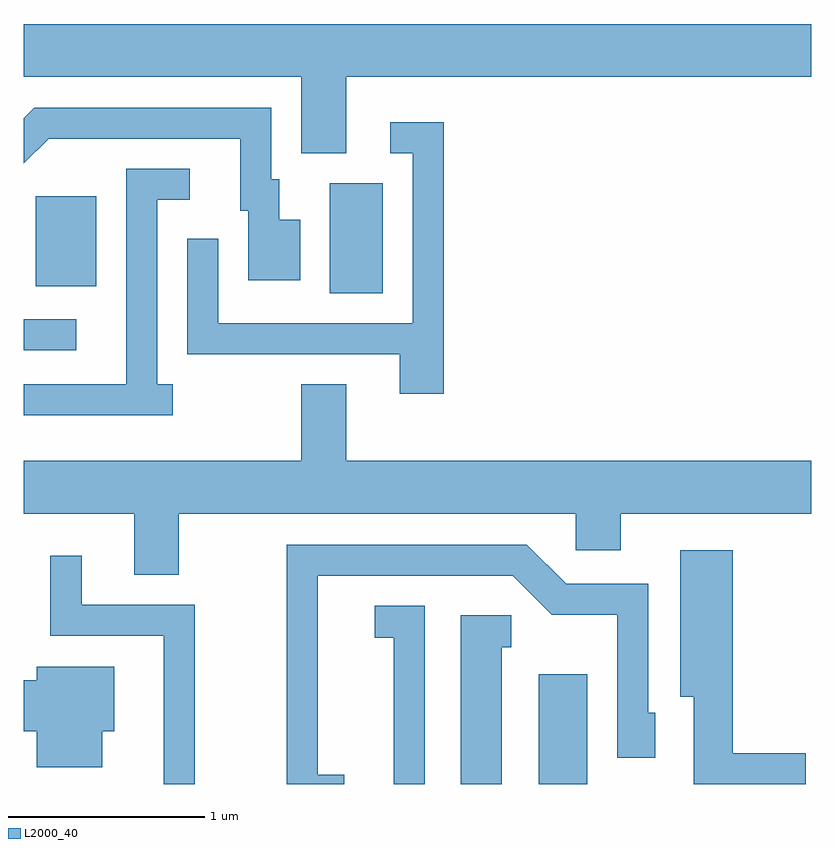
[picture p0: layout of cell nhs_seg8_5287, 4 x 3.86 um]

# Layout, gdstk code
import gdstk
lib = gdstk.Library(unit=1e-6, precision=1e-09)
def R(c, l, rs):  # rectangles x0, y0, x1, y1
    for r in rs: c.add(gdstk.rectangle(r[:2], r[2:], *l))
def P(c, l, *ps):  # polygons
    for p in ps: c.add(gdstk.Polygon(p, *l))
L2000_40 = (2000, 40)

nhs_seg8_5287 = lib.new_cell('nhs_seg8_5287')
R(nhs_seg8_5287, L2000_40, [(346.226,1868.342,346.474,1868.899), (343.611,1870.546,343.878,1870.704), (345.166,1870.836,345.434,1871.394), (343.671,1870.871,343.979,1871.329)])
P(nhs_seg8_5287, L2000_40, [(345.249,1871.936),(347.611,1871.936),(347.611,1872.204),(343.611,1872.204),(343.611,1871.936),(345.021,1871.936),(345.021,1871.546),(345.249,1871.546)],
  [(345.014,1871.209),(344.909,1871.209),(344.909,1871.414),(344.869,1871.414),(344.869,1871.779),(343.664,1871.779),(343.611,1871.726),(343.611,1871.496),(343.737,1871.621),(344.711,1871.621),(344.711,1871.256),(344.751,1871.256),(344.751,1870.901),(345.014,1870.901)],
  [(345.744,1871.704),(345.473,1871.704),(345.473,1871.546),(345.586,1871.546),(345.586,1870.684),(344.599,1870.684),(344.599,1871.113),(344.441,1871.113),(344.441,1870.526),(345.521,1870.526),(345.521,1870.326),(345.744,1870.326)],
  [(344.368,1870.374),(344.289,1870.374),(344.289,1871.311),(344.453,1871.311),(344.453,1871.469),(344.131,1871.469),(344.131,1870.374),(343.611,1870.374),(343.611,1870.216),(344.368,1870.216)],
  [(344.399,1869.716),(346.416,1869.716),(346.416,1869.531),(346.644,1869.531),(346.644,1869.716),(347.611,1869.716),(347.611,1869.984),(345.249,1869.984),(345.249,1870.374),(345.021,1870.374),(345.021,1869.984),(343.611,1869.984),(343.611,1869.716),(344.171,1869.716),(344.171,1869.406),(344.399,1869.406)],
  [(345.238,1868.389),(345.104,1868.389),(345.104,1869.401),(346.094,1869.401),(346.294,1869.201),(346.626,1869.201),(346.626,1868.476),(346.819,1868.476),(346.819,1868.704),(346.784,1868.704),(346.784,1869.359),(346.367,1869.359),(346.167,1869.559),(344.946,1869.559),(344.946,1868.342),(345.238,1868.342)],
  [(347.584,1868.499),(347.214,1868.499),(347.214,1869.529),(346.946,1869.529),(346.946,1868.786),(347.016,1868.786),(347.016,1868.342),(347.584,1868.342)],
  [(344.479,1869.254),(343.904,1869.254),(343.904,1869.503),(343.746,1869.503),(343.746,1869.096),(344.321,1869.096),(344.321,1868.342),(344.479,1868.342)],
  [(345.649,1869.249),(345.393,1869.249),(345.393,1869.086),(345.491,1869.086),(345.491,1868.342),(345.649,1868.342)],
  [(346.039,1869.036),(346.088,1869.036),(346.088,1869.199),(345.831,1869.199),(345.831,1868.342),(346.039,1868.342)],
  [(344.009,1868.611),(344.069,1868.611),(344.069,1868.939),(343.676,1868.939),(343.676,1868.869),(343.611,1868.869),(343.611,1868.611),(343.676,1868.611),(343.676,1868.426),(344.009,1868.426)])

lib.write_gds('nhs_seg8_5287.gds')
